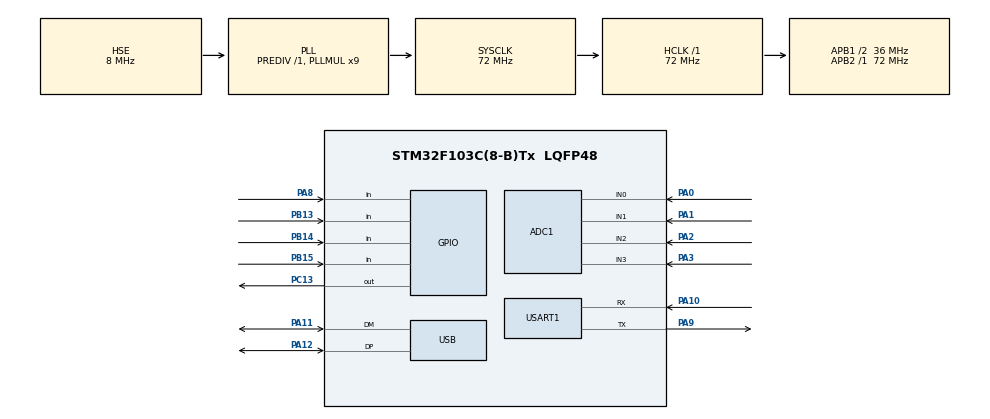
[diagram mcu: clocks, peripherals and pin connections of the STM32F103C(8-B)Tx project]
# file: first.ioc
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ADC1.Channel-4\#ChannelRegularConversion=ADC_CHANNEL_0
ADC1.Channel-5\#ChannelRegularConversion=ADC_CHANNEL_1
ADC1.Channel-6\#ChannelRegularConversion=ADC_CHANNEL_2
ADC1.Channel-7\#ChannelRegularConversion=ADC_CHANNEL_3
ADC1.ContinuousConvMode=DISABLE
ADC1.DiscontinuousConvMode=ENABLE
ADC1.EnableRegularConversion=ENABLE
ADC1.NbrOfConversion=4
ADC1.NbrOfConversionFlag=1
ADC1.Rank-4\#ChannelRegularConversion=1
ADC1.Rank-5\#ChannelRegularConversion=2
ADC1.Rank-6\#ChannelRegularConversion=3
ADC1.Rank-7\#ChannelRegularConversion=4
ADC1.SamplingTime-4\#ChannelRegularConversion=ADC_SAMPLETIME_239CYCLES_5
ADC1.SamplingTime-5\#ChannelRegularConversion=ADC_SAMPLETIME_239CYCLES_5
ADC1.SamplingTime-6\#ChannelRegularConversion=ADC_SAMPLETIME_239CYCLES_5
ADC1.SamplingTime-7\#ChannelRegularConversion=ADC_SAMPLETIME_239CYCLES_5
ADC1.master=1
Mcu.Family=STM32F1
Mcu.Name=STM32F103C(8-B)Tx
Mcu.Package=LQFP48
NVIC.PriorityGroup=NVIC_PRIORITYGROUP_4
NVIC.USB_LP_CAN1_RX0_IRQn=true\:0\:0\:false\:false\:true\:false\:true
PA0-WKUP.Signal=ADCx_IN0
PA1.Signal=ADCx_IN1
PA10.Mode=Asynchronous
PA10.Signal=USART1_RX
PA11.Mode=Device
PA11.Signal=USB_DM
PA12.Mode=Device
PA12.Signal=USB_DP
PA13.Mode=Serial_Wire
PA13.Signal=SYS_JTMS-SWDIO
PA14.Mode=Serial_Wire
PA14.Signal=SYS_JTCK-SWCLK
PA2.Signal=ADCx_IN2
PA3.Signal=ADCx_IN3
PA8.Signal=GPIO_Input
PA9.Mode=Asynchronous
PA9.Signal=USART1_TX
PB13.Signal=GPIO_Input
PB14.Signal=GPIO_Input
PB15.Signal=GPIO_Input
PC13-TAMPER-RTC.Signal=GPIO_Output
PD0-OSC_IN.Mode=HSE-External-Oscillator
PD0-OSC_IN.Signal=RCC_OSC_IN
PD1-OSC_OUT.Mode=HSE-External-Oscillator
PD1-OSC_OUT.Signal=RCC_OSC_OUT
ProjectManager.HeapSize=0x500
ProjectManager.StackSize=0x800
ProjectManager.TargetToolchain=MDK-ARM V5
RCC.ADCPresc=RCC_ADCPCLK2_DIV6
RCC.AHBFreq_Value=72000000
RCC.APB1CLKDivider=RCC_HCLK_DIV2
RCC.APB1Freq_Value=36000000
RCC.APB1TimFreq_Value=72000000
RCC.APB2Freq_Value=72000000
RCC.APB2TimFreq_Value=72000000
RCC.HCLKFreq_Value=72000000
RCC.PLLMUL=RCC_PLL_MUL9
RCC.PLLSourceVirtual=RCC_PLLSOURCE_HSE
RCC.SYSCLKFreq_VALUE=72000000
RCC.SYSCLKSource=RCC_SYSCLKSOURCE_PLLCLK
RCC.USBFreq_Value=48000000
RCC.USBPrescaler=RCC_USBCLKSOURCE_PLL_DIV1_5
SH.ADCx_IN0.0=ADC1_IN0,IN0
SH.ADCx_IN1.0=ADC1_IN1,IN1
SH.ADCx_IN2.0=ADC1_IN2,IN2
SH.ADCx_IN3.0=ADC1_IN3,IN3
USART1.VirtualMode=VM_ASYNC
USB_DEVICE.CLASS_NAME_FS=HID
USB_DEVICE.VirtualMode=Hid
USB_DEVICE.VirtualModeFS=Hid_FS
VP_USB_DEVICE_VS_USB_DEVICE_HID_FS.Mode=HID_FS
board=custom

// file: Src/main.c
/* USER CODE BEGIN Header */
/**
  ******************************************************************************
  * @file           : main.c
  * @brief          : Main program body
  ******************************************************************************
  * @attention
  *
  * <h2><center>&copy; Copyright (c) 2021 STMicroelectronics.
  * All rights reserved.</center></h2>
  *
  * This software component is licensed by ST under BSD 3-Clause license,
  * the "License"; You may not use this file except in compliance with the
  * License. You may obtain a copy of the License at:
  *                        opensource.org/licenses/BSD-3-Clause
  *
  ******************************************************************************
  */
/* USER CODE END Header */

#include "main.h"
#include "adc.h"
#include "usart.h"
#include "usb_device.h"
#include "gpio.h"

/* USER CODE BEGIN Includes */
#include "usbd_hid.h"
/* USER CODE END Includes */

/* USER CODE BEGIN PD */
#define uar_printf(...)  HAL_UART_Transmit(&huart1,\
																				(uint8_t *)u_buf,\
																				sprintf((char*)u_buf,__VA_ARGS__),\
																				0xffff)
/* USER CODE END PD */

/* USER CODE BEGIN PV */
uint8_t u_buf[256];
uint32_t adc_value[4];
uint8_t MouseData[4];
extern USBD_HandleTypeDef hUsbDeviceFS;
uint16_t angle_get;										//角度值保存
uint16_t volage_get;
//int flag=1;
/* USER CODE END PV */

void SystemClock_Config(void);
/* USER CODE BEGIN PFP */
void set_data();
void Read_ADC();
void Date_analyse();
uint16_t ADC_Get_Average(uint8_t ch,uint8_t times);
/* USER CODE END PFP */

int main(void)
{
  /* USER CODE BEGIN 1 */
	int i;
  /* USER CODE END 1 */

  /* MCU Configuration--------------------------------------------------------*/

  /* Reset of all peripherals, Initializes the Flash interface and the Systick. */
  HAL_Init();

  /* Configure the system clock */
  SystemClock_Config();

  /* Initialize all configured peripherals */
  MX_GPIO_Init();
  MX_ADC1_Init();
  MX_USART1_UART_Init();
  MX_USB_DEVICE_Init();
  /* USER CODE BEGIN 2 */
//	HAL_ADC_Start_DMA((ADC_HandleTypeDef*) &hadc1, (uint32_t*) adc_value, 4);
		HAL_ADCEx_Calibration_Start(&hadc1);
  /* USER CODE END 2 */

  /* Infinite loop */
  /* USER CODE BEGIN WHILE */
  while (1)
  {
		for(i=0;i<4;i++)
		{
			HAL_ADC_Start(&hadc1);
			HAL_ADC_PollForConversion(&hadc1,0xffff);
			adc_value[i]=HAL_ADC_GetValue(&hadc1);
			uar_printf("------ch:%d--%d-------\r\n",i,adc_value[i]);//串口打印
		}
		HAL_ADC_Stop(&hadc1);
		set_data();
		USBD_HID_SendReport(&hUsbDeviceFS,(uint8_t*)MouseData,sizeof(MouseData));
		HAL_Delay(10);
    /* USER CODE END WHILE */

  }
}

void SystemClock_Config(void)
{
  RCC_OscInitTypeDef RCC_OscInitStruct = {0};
  RCC_ClkInitTypeDef RCC_ClkInitStruct = {0};
  RCC_PeriphCLKInitTypeDef PeriphClkInit = {0};

  /** Initializes the CPU, AHB and APB busses clocks
  */
  RCC_OscInitStruct.OscillatorType = RCC_OSCILLATORTYPE_HSE;
  RCC_OscInitStruct.HSEState = RCC_HSE_ON;
  RCC_OscInitStruct.HSEPredivValue = RCC_HSE_PREDIV_DIV1;
  RCC_OscInitStruct.HSIState = RCC_HSI_ON;
  RCC_OscInitStruct.PLL.PLLState = RCC_PLL_ON;
  RCC_OscInitStruct.PLL.PLLSource = RCC_PLLSOURCE_HSE;
  RCC_OscInitStruct.PLL.PLLMUL = RCC_PLL_MUL9;
  if (HAL_RCC_OscConfig(&RCC_OscInitStruct) != HAL_OK)
  {
    Error_Handler();
  }
  /** Initializes the CPU, AHB and APB busses clocks
  */
  RCC_ClkInitStruct.ClockType = RCC_CLOCKTYPE_HCLK|RCC_CLOCKTYPE_SYSCLK
                              |RCC_CLOCKTYPE_PCLK1|RCC_CLOCKTYPE_PCLK2;
  RCC_ClkInitStruct.SYSCLKSource = RCC_SYSCLKSOURCE_PLLCLK;
  RCC_ClkInitStruct.AHBCLKDivider = RCC_SYSCLK_DIV1;
  RCC_ClkInitStruct.APB1CLKDivider = RCC_HCLK_DIV2;
  RCC_ClkInitStruct.APB2CLKDivider = RCC_HCLK_DIV1;

  if (HAL_RCC_ClockConfig(&RCC_ClkInitStruct, FLASH_LATENCY_2) != HAL_OK)
  {
    Error_Handler();
  }
  PeriphClkInit.PeriphClockSelection = RCC_PERIPHCLK_ADC|RCC_PERIPHCLK_USB;
  PeriphClkInit.AdcClockSelection = RCC_ADCPCLK2_DIV6;
  PeriphClkInit.UsbClockSelection = RCC_USBCLKSOURCE_PLL_DIV1_5;
  if (HAL_RCCEx_PeriphCLKConfig(&PeriphClkInit) != HAL_OK)
  {
    Error_Handler();
  }
}

/* USER CODE BEGIN 4 */
void set_data()
{
	MouseData[0]=127-(float)adc_value[1]/4095*127;
	MouseData[1]=127-(float)adc_value[0]/4095*127;
	if(abs((int)MouseData[0])<5)
		MouseData[0]=0;
	if(abs((int)MouseData[1])<5)
		MouseData[1]=0;
//	uar_printf("------ch:%d--%d-------\r\n",MouseData[0],MouseData[1]);
//	uar_printf("------ch:%d--%d-------\r\n",adc_value[0],adc_value[1]);

}
//ch(1-6Chnnal),times(读取次数)
uint16_t ADC_Get_Average(uint8_t ch,uint8_t times)
{
	ADC_ChannelConfTypeDef sConfig;		//通道初始化
	uint32_t value_sum=0;
	uint8_t i;
	switch(ch)							//选择ADC通道
	{
		case 0:sConfig.Channel = ADC_CHANNEL_0;break;
		case 1:sConfig.Channel = ADC_CHANNEL_1;break;
		case 2:sConfig.Channel = ADC_CHANNEL_2;break;
		case 3:sConfig.Channel = ADC_CHANNEL_3;break;
		case 4:sConfig.Channel = ADC_CHANNEL_4;break;
		case 5:sConfig.Channel = ADC_CHANNEL_5;break;
		case 6:sConfig.Channel = ADC_CHANNEL_6;break;
	}
	sConfig.SamplingTime = ADC_SAMPLETIME_239CYCLES_5;		//采用周期239.5周期
	sConfig.Rank = 1;
	HAL_ADC_ConfigChannel(&hadc1,&sConfig);
	for(i=0;i<times;i++)
	{
		HAL_ADC_Start(&hadc1);								//启动转换
		HAL_ADC_PollForConversion(&hadc1,30);				//等待转化结束
		value_sum += HAL_ADC_GetValue(&hadc1);				//求和
		HAL_ADC_Stop(&hadc1);								//停止转换
	}
	return value_sum/times;									//返回平均值
}

/* USER CODE END 4 */

void Error_Handler(void)
{
}

/************************ (C) COPYRIGHT STMicroelectronics *****END OF FILE****/
